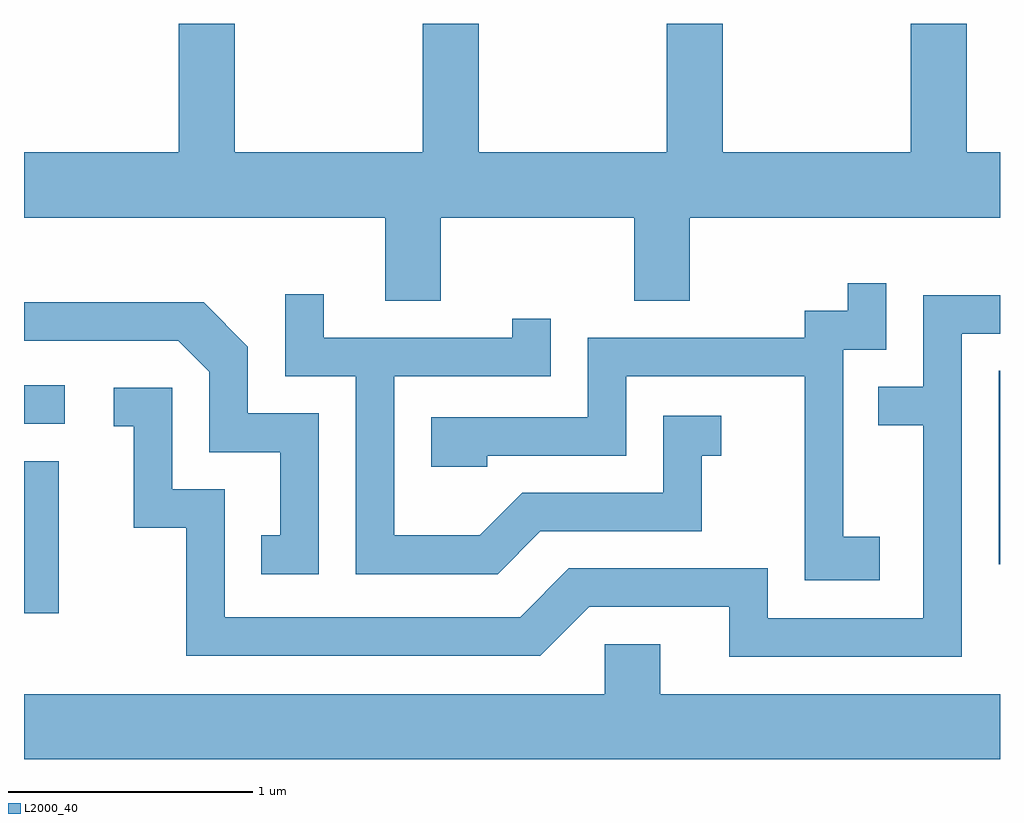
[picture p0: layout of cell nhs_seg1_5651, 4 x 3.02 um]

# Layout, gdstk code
import gdstk
lib = gdstk.Library(unit=1e-6, precision=1e-09)
def R(c, l, rs):  # rectangles x0, y0, x1, y1
    for r in rs: c.add(gdstk.rectangle(r[:2], r[2:], *l))
def P(c, l, *ps):  # polygons
    for p in ps: c.add(gdstk.Polygon(p, *l))
L2000_40 = (2000, 40)

nhs_seg1_5651 = lib.new_cell('nhs_seg1_5651')
R(nhs_seg1_5651, L2000_40, [(355.611,891.296,355.754,891.919), (359.606,891.496,359.611,892.289), (355.611,892.071,355.778,892.229)])
P(nhs_seg1_5651, L2000_40, [(358.246,893.184),(357.474,893.184),(357.474,893.712),(357.246,893.712),(357.246,893.184),(356.474,893.184),(356.474,893.712),(356.246,893.712),(356.246,893.184),(355.611,893.184),(355.611,892.916),(357.091,892.916),(357.091,892.576),(357.319,892.576),(357.319,892.916),(358.111,892.916),(358.111,892.576),(358.339,892.576),(358.339,892.916),(359.611,892.916),(359.611,893.184),(359.474,893.184),(359.474,893.712),(359.246,893.712),(359.246,893.184),(358.474,893.184),(358.474,893.712),(358.246,893.712)],
  [(359.119,891.609),(358.969,891.609),(358.969,892.376),(359.144,892.376),(359.144,892.648),(358.986,892.648),(358.986,892.534),(358.811,892.534),(358.811,892.424),(357.921,892.424),(357.921,892.099),(357.281,892.099),(357.281,891.896),(357.509,891.896),(357.509,891.941),(358.079,891.941),(358.079,892.266),(358.811,892.266),(358.811,891.431),(359.119,891.431)],
  [(357.727,891.631),(358.389,891.631),(358.389,891.941),(358.468,891.941),(358.468,892.104),(358.231,892.104),(358.231,891.789),(357.654,891.789),(357.479,891.614),(357.129,891.614),(357.129,892.266),(357.769,892.266),(357.769,892.503),(357.611,892.503),(357.611,892.424),(356.839,892.424),(356.839,892.603),(356.681,892.603),(356.681,892.266),(356.971,892.266),(356.971,891.456),(357.552,891.456)],
  [(359.454,892.441),(359.611,892.441),(359.611,892.599),(359.296,892.599),(359.296,892.224),(359.113,892.224),(359.113,892.066),(359.296,892.066),(359.296,891.274),(358.659,891.274),(358.659,891.479),(357.844,891.479),(357.644,891.279),(356.434,891.279),(356.434,891.804),(356.219,891.804),(356.219,892.219),(355.978,892.219),(355.978,892.061),(356.061,892.061),(356.061,891.646),(356.276,891.646),(356.276,891.121),(357.727,891.121),(357.927,891.321),(358.501,891.321),(358.501,891.116),(359.454,891.116)],
  [(356.819,892.114),(356.529,892.114),(356.529,892.387),(356.347,892.569),(355.611,892.569),(355.611,892.411),(356.244,892.411),(356.371,892.284),(356.371,891.956),(356.661,891.956),(356.661,891.614),(356.583,891.614),(356.583,891.456),(356.819,891.456)],
  [(359.611,890.964),(358.219,890.964),(358.219,891.169),(357.991,891.169),(357.991,890.964),(355.611,890.964),(355.611,890.696),(359.611,890.696)])

lib.write_gds('nhs_seg1_5651.gds')
